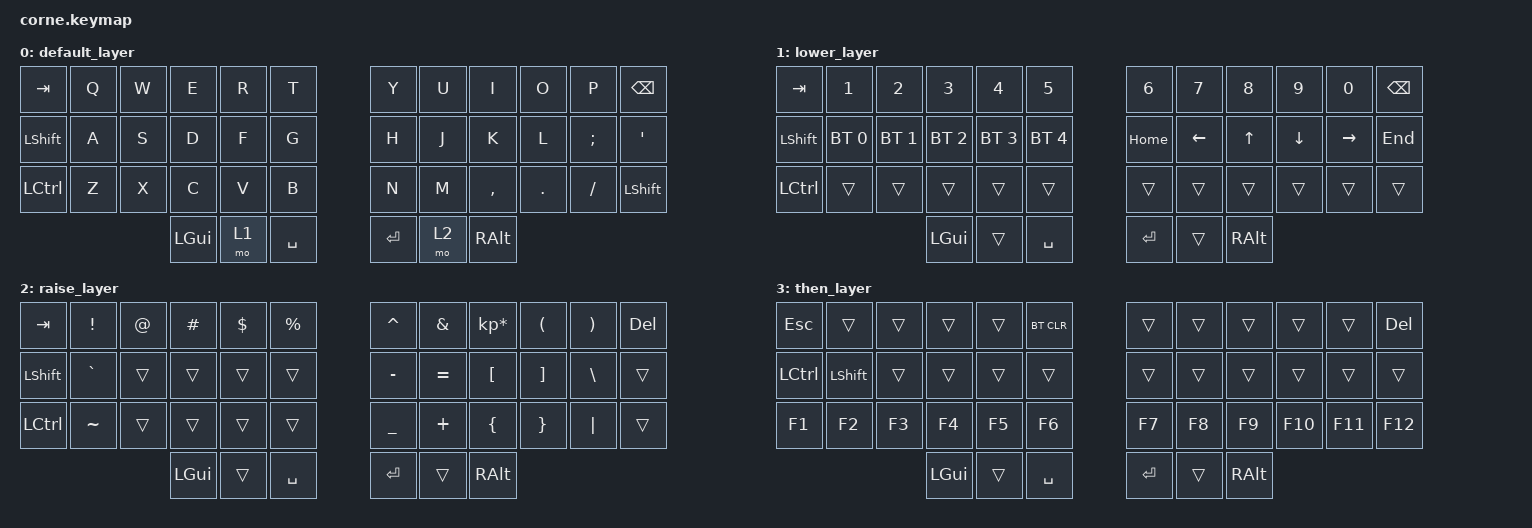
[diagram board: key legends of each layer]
/*
 * Copyright (c) 2020 The ZMK Contributors
 *
 * SPDX-License-Identifier: MIT
 */

#include <behaviors.dtsi>
#include <dt-bindings/zmk/keys.h>
#include <dt-bindings/zmk/bt.h>

/ {
         conditional_layers {
                compatible = "zmk,conditional-layers";
                tri_layer {
                        if-layers = <1 2>;
                        then-layer = <3>;
                };
        };
        
        keymap {
                compatible = "zmk,keymap";

                default_layer {
// -----------------------------------------------------------------------------------------
// |  TAB |  Q  |  W  |  E  |  R  |  T  |   |  Y  |  U   |  I  |  O  |  P  | BKSP |
// | SHFT |  A  |  S  |  D  |  F  |  G  |   |  H  |  J   |  K  |  L  |  ;  |  '   |
// | CTRL |  Z  |  X  |  C  |  V  |  B  |   |  N  |  M   |  ,  |  .  |  /  | SHFT |
//                    | GUI | LWR | SPC |   | ENT | RSE  | ALT |
                        bindings = <
   &kp TAB   &kp Q &kp W &kp E &kp R &kp T   &kp Y &kp U  &kp I     &kp O   &kp P    &kp BSPC
   &kp LSHFT &kp A &kp S &kp D &kp F &kp G   &kp H &kp J  &kp K     &kp L   &kp SEMI &kp SQT
   &kp LCTRL &kp Z &kp X &kp C &kp V &kp B   &kp N &kp M  &kp COMMA &kp DOT &kp FSLH &kp LSHFT
                  &kp LGUI &mo 1 &kp SPACE   &kp RET &mo 2 &kp RALT
                        >;
                };

                lower_layer {
// -----------------------------------------------------------------------------------------
// |  TAB |  1  |  2  |  3  |  4  |  5  |   |  6  |  7  |  8  |  9  |  0  | BKSP |
// | SHFT | BT1 | BT2 | BT3 | BT4 | BT5 |   | HOME| LFT |  UP | DWN | RGT | END  |
// | CTRL |     |     |     |     |     |   |     |     |     |     |     |      |
//                    | GUI |     | SPC |   | ENT |     | ALT |
                        bindings = <
   &kp TAB    &kp N1       &kp N2       &kp N3       &kp N4       &kp N5         &kp N6   &kp N7   &kp N8 &kp N9    &kp N0 &kp BSPC
   &kp LSHFT  &bt BT_SEL 0 &bt BT_SEL 1 &bt BT_SEL 2 &bt BT_SEL 3 &bt BT_SEL 4   &kp HOME &kp LEFT &kp UP &kp DOWN  &kp RIGHT &kp END   
   &kp LCTRL  &trans       &trans       &trans       &trans       &trans         &trans   &trans   &trans &trans    &trans &trans
                                    &kp LGUI     &trans       &kp SPACE      &kp RET  &trans   &kp RALT
                        >;
                };

                raise_layer {
// -----------------------------------------------------------------------------------------
// |  TAB |  !  |  @  |  #  |  $  |  %  |   |  ^  |  &  |  *  |  (  |  )  | DEL |
// | SHFT |  ~  |     |     |     |     |   |  -  |  =  |  [  |  ]  |  \  |     |
// | CTRL |  `  |     |     |     |     |   |  _  |  +  |  {  |  }  | "|" |     |
//                    | GUI |     | SPC |   | ENT |     | ALT |
                        bindings = <
   &kp  TAB  &kp EXCL &kp AT &kp HASH &kp DLLR &kp PRCNT   &kp CARET &kp AMPS  &kp KP_MULTIPLY &kp LPAR &kp RPAR &kp DEL
   &kp LSHFT &kp GRAVE &trans &trans   &trans   &trans      &kp MINUS &kp EQUAL &kp LBKT        &kp RBKT &kp BSLH &trans
   &kp LCTRL &kp TILDE &trans &trans   &trans   &trans      &kp UNDER &kp PLUS  &kp LBRC        &kp RBRC &kp PIPE &trans
                             &kp LGUI &trans   &kp SPACE   &kp RET   &trans    &kp RALT
                        >;
                };

                then_layer {
// -----------------------------------------------------------------------------------------
// | ESC  |      |     |     |     |BTCLR | x |     |     |     |     |     | DEL  |
// | CTRL | SHFT |     |     |     |      | x |     |     |     |     |     |      |
// | F1   | F2   | F3  | F4  | F5  | F6   | x | F7  | F8  | F9  | F10 | F11 | F12  |
//                     | GUI |     | SPC  |   | ENT |     | ALT |
                        bindings = <
   &kp ESC   &trans    &trans &trans  &trans  &bt BT_CLR  &trans  &trans  &trans &trans  &trans  &kp DEL
   &kp LCTRL &kp LSHFT &trans &trans  &trans  &trans      &trans  &trans  &trans &trans  &trans  &trans
   &kp F1    &kp F2    &kp F3 &kp F4  &kp F5  &kp F6      &kp F7  &kp F8  &kp F9 &kp F10 &kp F11 &kp F12   
                            &kp LGUI &trans   &kp SPACE   &kp RET   &trans    &kp RALT
                        >;
                };
        };
};
